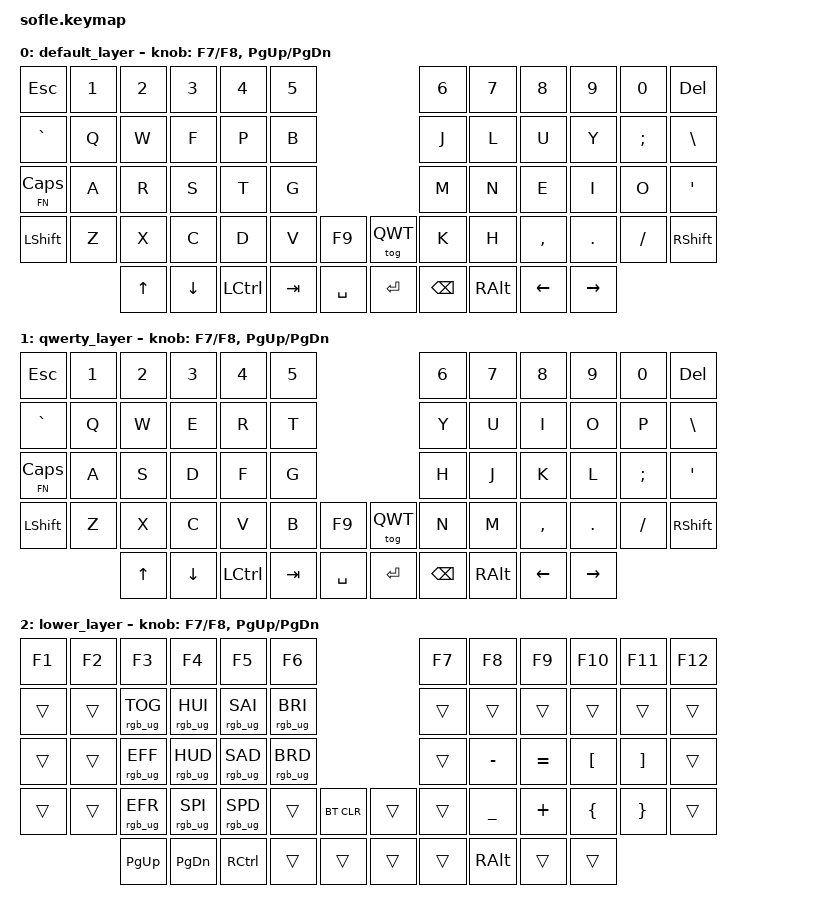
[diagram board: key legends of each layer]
/*
 * Copyright (c) 2020 The ZMK Contributors
 *
 * SPDX-License-Identifier: MIT
 */

#include <behaviors.dtsi>
#include <dt-bindings/zmk/keys.h>
#include <dt-bindings/zmk/bt.h>
#include <dt-bindings/zmk/rgb.h>

#define QWT 1
#define FN 2


/ {
    keymap {
        compatible = "zmk,keymap";

        default_layer {
// ------------------------------------------------------------------------------------------------------------
// |  `    |  1  |  2  |  3   |  4   |  5   |                   |  6   |  7    |  8    |  9   |   0   |       |
// |  ESC  |  Q  |  W  |  E   |  R   |  T   |                   |  Y   |  U    |  I    |  O   |   P   | BKSPC |
// |  TAB  |  A  |  S  |  D   |  F   |  G   |                   |  H   |  J    |  K    |  L   |   ;   |   '   |
// | SHIFT |  Z  |  X  |  C   |  V   |  B   |  MUTE  |  |       |  N   |  M    |  ,    |  .   |   /   | SHIFT |
//               | GUI | ALT  | CTRL | LOWER|  ENTER |  | SPACE | RAISE| CTRL  | ALT   | GUI  |
            bindings = <
&kp ESC     &kp N1 &kp N2   &kp N3   &kp N4    &kp N5                      &kp N6    &kp N7    &kp N8    &kp N9   &kp N0   &kp DEL
&kp GRAVE   &kp Q  &kp W    &kp F    &kp P     &kp B                       &kp J     &kp L     &kp U     &kp Y    &kp SEMI &kp BSLH
&lt FN CAPS &kp A  &kp R    &kp S    &kp T     &kp G                       &kp M     &kp N     &kp E     &kp I    &kp O    &kp SQT
&kp LSHFT   &kp Z  &kp X    &kp C    &kp D     &kp V   &kp F9     &tog QWT &kp K     &kp H     &kp COMMA &kp DOT  &kp FSLH &kp RSHFT
                   &kp UP   &kp DOWN &kp LCTRL &kp TAB &kp SPACE  &kp RET  &kp BSPC  &kp RALT  &kp LEFT  &kp RIGHT
            >;

            sensor-bindings = <&inc_dec_kp F7 F8 &inc_dec_kp PG_UP PG_DN>;
        };

        qwerty_layer {
// TODO: Some binds are waiting for shifted keycode support.
// ------------------------------------------------------------------------------------------------------------
// |       |  F1 |  F2 |  F3  |  F4  |  F5  |                   |  F6  |  F7   |  F8   |  F9  |  F10  |  F11  |
// | `     |   1 |   2 |   3  |   4  |   5  |                   |   6  |   7   |   8   |   9  |    0  |  F12  |
// |       |  !  |  @  |  #   |  $   |  %   |                   |  ^   |  &    |  *    |  (   |   )   |   |   |
// |       |  =  |  -  |  +   |  {   |  }   |        |  |       |  [   |  ]    |  ;    |  :   |   \   |       |
//               |     |      |      |      |        |  |       |      |       |       |      |
            bindings = <
&kp ESC     &kp N1 &kp N2   &kp N3   &kp N4    &kp N5                      &kp N6    &kp N7    &kp N8    &kp N9   &kp N0   &kp DEL
&kp GRAVE   &kp Q  &kp W    &kp E    &kp R     &kp T                       &kp Y     &kp U     &kp I     &kp O    &kp P    &kp BSLH
&lt FN CAPS &kp A  &kp S    &kp D    &kp F     &kp G                       &kp H     &kp J     &kp K     &kp L    &kp SEMI &kp SQT
&kp LSHFT   &kp Z  &kp X    &kp C    &kp V     &kp B   &kp F9     &tog QWT &kp N     &kp M     &kp COMMA &kp DOT  &kp FSLH &kp RSHFT
                   &kp UP   &kp DOWN &kp LCTRL &kp TAB &kp SPACE  &kp RET  &kp BSPC  &kp RALT  &kp LEFT  &kp RIGHT
            >;

            sensor-bindings = <&inc_dec_kp F7 F8 &inc_dec_kp PG_UP PG_DN>;
        };

        lower_layer {
// TODO: Some binds are waiting for shifted keycode support.
// ------------------------------------------------------------------------------------------------------------
// |       |  F1 |  F2 |  F3  |  F4  |  F5  |                   |  F6  |  F7   |  F8   |  F9  |  F10  |  F11  |
// | `     |   1 |   2 |   3  |   4  |   5  |                   |   6  |   7   |   8   |   9  |    0  |  F12  |
// |       |  !  |  @  |  #   |  $   |  %   |                   |  ^   |  &    |  *    |  (   |   )   |   |   |
// |       |  =  |  -  |  +   |  {   |  }   |        |  |       |  [   |  ]    |  ;    |  :   |   \   |       |
//               |     |      |      |      |        |  |       |      |       |       |      |
            bindings = <
&kp F1     &kp F2 &kp F3           &kp F4             &kp F5            &kp F6                             &kp F7    &kp F8      &kp F9     &kp F10   &kp F11   &kp F12
&trans     &trans &rgb_ug RGB_TOG  &rgb_ug RGB_HUI    &rgb_ug RGB_SAI   &rgb_ug RGB_BRI                    &trans    &trans      &trans     &trans    &trans    &trans
&trans     &trans &rgb_ug RGB_EFF  &rgb_ug RGB_HUD    &rgb_ug RGB_SAD   &rgb_ug RGB_BRD                    &trans    &kp MINUS   &kp EQUAL  &kp LBKT  &kp RBKT  &trans
&trans     &trans &rgb_ug RGB_EFR  &rgb_ug RGB_SPI    &rgb_ug RGB_SPD   &trans  &bt BT_CLR  &trans  &trans &kp UNDER &kp PLUS    &kp LBRC   &kp RBRC  &trans
                 &kp PG_UP         &kp PG_DN          &kp RCTRL         &trans  &trans      &trans  &trans &kp RALT  &trans      &trans
            >;

            sensor-bindings = <&inc_dec_kp F7 F8 &inc_dec_kp PG_UP PG_DN>;
        };
    };
};
